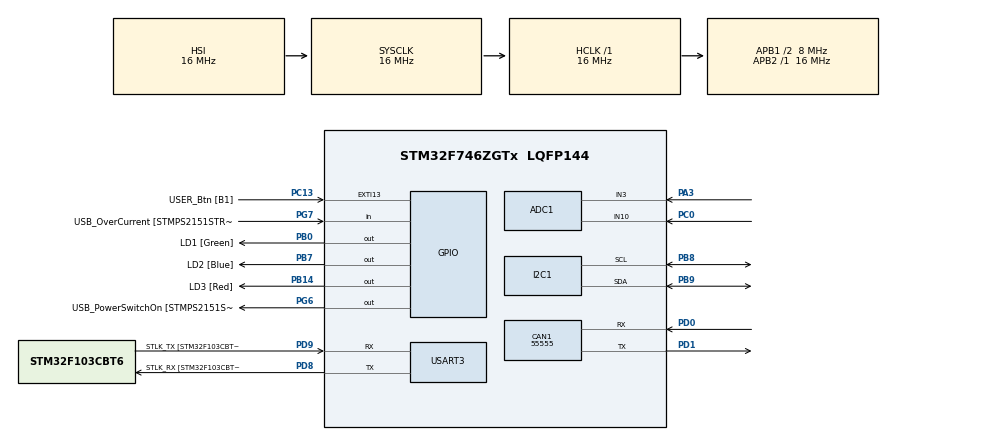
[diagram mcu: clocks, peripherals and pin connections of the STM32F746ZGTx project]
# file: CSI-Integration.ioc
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ADC1.Channel-1\#ChannelRegularConversion=ADC_CHANNEL_3
ADC1.NbrOfConversionFlag=1
ADC1.Rank-1\#ChannelRegularConversion=1
ADC1.SamplingTime-1\#ChannelRegularConversion=ADC_SAMPLETIME_3CYCLES
ADC1.master=1
CAN1.BS1=CAN_BS1_4TQ
CAN1.BS2=CAN_BS2_4TQ
CAN1.CalculateBaudRate=55555
CAN1.CalculateTimeBit=18000
CAN1.CalculateTimeQuantum=2000.0
CAN1.Mode=CAN_MODE_LOOPBACK
I2C1.Timing=0x2000090E
Mcu.Family=STM32F7
Mcu.Name=STM32F746ZGTx
Mcu.Package=LQFP144
NVIC.CAN1_RX0_IRQn=true\:0\:0\:false\:false\:true\:true\:true
NVIC.PriorityGroup=NVIC_PRIORITYGROUP_4
PA10.GPIO_Label=USB_ID
PA10.Signal=USB_OTG_FS_ID
PA11.GPIO_Label=USB_DM
PA11.Signal=USB_OTG_FS_DM
PA12.GPIO_Label=USB_DP
PA12.Signal=USB_OTG_FS_DP
PA13.GPIO_Label=TMS
PA13.Signal=SYS_JTMS-SWDIO
PA14.GPIO_Label=TCK
PA14.Signal=SYS_JTCK-SWCLK
PA3.Signal=ADCx_IN3
PA8.GPIO_Label=USB_SOF [TP1]
PA8.Signal=USB_OTG_FS_SOF
PA9.GPIO_Label=USB_VBUS
PA9.Signal=USB_OTG_FS_VBUS
PB0.GPIO_Label=LD1 [Green]
PB0.Signal=GPIO_Output
PB13.GPIO_Label=RMII_TXD1 [LAN8742A-CZ-TR_TXD1]
PB13.Signal=ETH_TXD1
PB14.GPIO_Label=LD3 [Red]
PB14.Signal=GPIO_Output
PB3.GPIO_Label=SW0
PB3.Signal=SYS_JTDO-SWO
PB7.GPIO_Label=LD2 [Blue]
PB7.Signal=GPIO_Output
PB8.Mode=I2C
PB8.Signal=I2C1_SCL
PB9.Mode=I2C
PB9.Signal=I2C1_SDA
PC0.Signal=ADCx_IN10
PC1.GPIO_Label=RMII_MDC [LAN8742A-CZ-TR_MDC]
PC1.Signal=ETH_MDC
PC13.GPIO_Label=USER_Btn [B1]
PC13.Signal=GPXTI13
PC14/OSC32_IN.Signal=RCC_OSC32_IN
PC15/OSC32_OUT.Signal=RCC_OSC32_OUT
PD0.Mode=CAN_Activate
PD0.Signal=CAN1_RX
PD1.Mode=CAN_Activate
PD1.Signal=CAN1_TX
PD8.GPIO_Label=STLK_RX [STM32F103CBT6_PA3]
PD8.Mode=Asynchronous
PD8.Signal=USART3_TX
PD9.GPIO_Label=STLK_TX [STM32F103CBT6_PA2]
PD9.Mode=Asynchronous
PD9.Signal=USART3_RX
PG11.GPIO_Label=RMII_TX_EN [LAN8742A-CZ-TR_TXEN]
PG11.Signal=ETH_TX_EN
PG13.GPIO_Label=RMII_TXD0 [LAN8742A-CZ-TR_TXD0]
PG13.Signal=ETH_TXD0
PG6.GPIO_Label=USB_PowerSwitchOn [STMPS2151STR_EN]
PG6.Signal=GPIO_Output
PG7.GPIO_Label=USB_OverCurrent [STMPS2151STR_FAULT]
PG7.Signal=GPIO_Input
PH0/OSC_IN.GPIO_Label=MCO [STM32F103CBT6_PA8]
PH0/OSC_IN.Mode=HSE-External-Oscillator
PH0/OSC_IN.Signal=RCC_OSC_IN
PH1/OSC_OUT.Mode=HSE-External-Oscillator
PH1/OSC_OUT.Signal=RCC_OSC_OUT
ProjectManager.HeapSize=0x200
ProjectManager.StackSize=0x400
ProjectManager.TargetToolchain=STM32CubeIDE
RCC.48MHZClocksFreq_Value=24000000
RCC.AHBFreq_Value=16000000
RCC.APB1CLKDivider=RCC_HCLK_DIV2
RCC.APB1Freq_Value=8000000
RCC.APB1TimFreq_Value=16000000
RCC.APB2Freq_Value=16000000
RCC.APB2TimFreq_Value=16000000
RCC.CortexFreq_Value=16000000
RCC.HCLKFreq_Value=16000000
RCC.HSE_VALUE=8000000
RCC.HSI_VALUE=16000000
RCC.LSE_VALUE=32768
RCC.PLLMUL=RCC_PLL_MUL9
RCC.PRESCALERUSB=RCC_USBCLKSOURCE_PLL_DIV1_5
RCC.SYSCLKFreq_VALUE=16000000
RCC.SYSCLKSourceVirtual=RCC_SYSCLKSOURCE_PLLCLK
RCC.USBFreq_Value=96000000
RCC.VCOOutputFreq_Value=192000000
SH.ADCx_IN10.0=ADC1_IN10,IN10
SH.ADCx_IN3.0=ADC1_IN3,IN3
USART3.VirtualMode-Asynchronous=VM_ASYNC
board=NUCLEO-F746ZG

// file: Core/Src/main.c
/* USER CODE BEGIN Header */
/**
  ******************************************************************************
  * @file           : main.c
  * @brief          : Main program body
  ******************************************************************************
  * @attention
  *
  * Copyright (c) 2022 STMicroelectronics.
  * All rights reserved.
  *
  * This software is licensed under terms that can be found in the LICENSE file
  * in the root directory of this software component.
  * If no LICENSE file comes with this software, it is provided AS-IS.
  *
  ******************************************************************************
  */
/* USER CODE END Header */
#include "main.h"

/* USER CODE BEGIN Includes */
#include <string.h>
#include <stdio.h>
#include "global.h"
#include "CAN_Driver.h"
#include "EEPROM_Driver_EXT.h"
#include "sensor.h"
#include "ADC_Driver.h"
//#include "CAN_Driver.h"
/* USER CODE END Includes */

ADC_HandleTypeDef hadc1;

CAN_HandleTypeDef hcan1;

I2C_HandleTypeDef hi2c1;

UART_HandleTypeDef huart3;

void SystemClock_Config(void);
static void MX_GPIO_Init(void);
static void MX_CAN1_Init(void);
static void MX_USART3_UART_Init(void);
static void MX_ADC1_Init(void);
static void MX_I2C1_Init(void);

/* USER CODE BEGIN 0 */

/* Define CSI_ID 0x0-0xF*/
#define CSI_ID 1 //hardware ID

// CSI CAN IDs TX
#define ID_STATUS       ((0x600) | (0x0F0&(CSI_config_ID<<4)))
#define ID_ANA_VAL12    ((0x601) | (0x0F0&(CSI_config_ID<<4)))     //send Analog Value 1 and 2
#define ID_ANA_VAL34    ((0x602) | (0x0F0&(CSI_config_ID<<4)))   //send Analog Value 3 and 4
#define ID_DIG_VAL1     ((0x603) | (0x0F0&(CSI_config_ID<<4)))    //send Digital Value
#define ID_ERROR        ((0x606) | (0x0F0&(CSI_config_ID<<4)))    //error message
#define ID_CSI_LOAD     ((0x607) | (0x0F0&(CSI_config_ID<<4)))      //send  the acutal CSI Load

#define ID_REQ_VOLTS    (0x608 | (CSI_ID<<4))   // actual Voltage of a channel to the dash manager
#define ID_CONFIG_CSI   (0x609 | (CSI_ID<<4))      //send the config from the CSI to the dash manager

// CSI CAN IDs RX
#define ID_GET_config   0x700    //Dash Manager sends a new config to the CSI
#define ID_SWITCH_5V_SW  ((0x604) | (CSI_config_ID<<4))

//extern struct_Sensor sensor;
//extern S08 device;

CAN_TxHeaderTypeDef TxHeader;
CAN_RxHeaderTypeDef RxHeader;

uint32_t TxMailbox = 0x00;

uint8_t TxData[8] = {0};
uint8_t RxData[8] = {0};

uint8_t new_index = -1;

uint8_t count = 0;

struct_Sensor sensor;
S08 device;

//testing for EEPROM
char uart_buf[50] = {0};
char i2c_buffer[20];
uint16_t temp_buffer[10];

void HAL_CAN_RxFifo0MsgPendingCallback(CAN_HandleTypeDef *hcan1)
{
	HAL_CAN_GetRxMessage(hcan1, CAN_RX_FIFO0, &RxHeader, RxData);

uint16_t x_value_byte1 = 0, x_value_byte2 = 0;
uint16_t y_value_byte1 = 0, y_value_byte2 = 0;
uint32_t address_X, address_Y;
uint8_t X_new_index, Y_new_index;
uint16_t new_x_value = 0;
sint32 new_y_value = 0;
//struct_Sensor sensor;

	if(RxHeader.StdId == 0x99 ){

		x_value_byte1 = RxData[2] << 8; //upper byte
		x_value_byte2 = RxData[3]; //lower byte

		y_value_byte1 = RxData[4] << 8; //upper byte
		y_value_byte2 = RxData[5]; // lower byte

		//obtaining x index
		X_new_index = RxData[0];
		address_X = X_new_index * 2;

		//obtaining y index
		Y_new_index = RxData[1];
		address_Y = (Y_new_index * 2) + sensor.end_address;

		new_x_value = x_value_byte1 | x_value_byte2;
		new_y_value = y_value_byte1 | y_value_byte2;

		sensor.x_values[X_new_index] = new_x_value;
		if(Write_Page_EEPROM(&device, address_X, sensor.x_values[X_new_index]) != HAL_OK )
			Error_Handler();

		sensor.y_values[Y_new_index] = new_y_value;

		if(Write_Page_EEPROM(&device, address_Y, sensor.y_values[Y_new_index]) != HAL_OK )
			Error_Handler();

		read_ALL_EEPROM(&sensor, &device);
		//serial_print_sensor_values(sensor);
	}
	//no changes

	//count++;
}//test code for loopback mode

/* USER CODE END 0 */

int main(void)
{

  /* MCU Configuration--------------------------------------------------------*/

  /* Reset of all peripherals, Initializes the Flash interface and the Systick. */
  HAL_Init();

  /* Configure the system clock */
  SystemClock_Config();

  /* Initialize all configured peripherals */
  MX_GPIO_Init();
  MX_CAN1_Init();
  MX_USART3_UART_Init();
  MX_ADC1_Init();
  MX_I2C1_Init();
  /* USER CODE BEGIN 2 */

  HAL_CAN_Start(&hcan1); // start communicating with CANBUS and cant reconfigure CAN settings

  /*ENABLE INTERRUPTS*/
  HAL_CAN_ActivateNotification(&hcan1, CAN_IT_RX_FIFO0_MSG_PENDING);

HAL_StatusTypeDef error_check = HAL_OK;

initialize_EEPROM(&device, &hi2c1);

//initialize Sensor
//struct_Sensor sensor = {0};
init_sensor(&sensor); //assigning the default values for sensors to the EEPROM

write_ALL_EEPROM(&sensor, &device);
read_ALL_EEPROM(&sensor, &device);
serial_print_sensor_values(sensor);

//interpolation function needs to be written

//ADC variables
	char adc_msg[100];
	int raw;
	int convert;
	sint32 physical = 0;

	//CAN variables
	uint8_t upper_byte = 0, lower_byte = 0;

	uint16_t value_x = 100;
	uint16_t value_y = 27;

	uint8_t upper_byte_x = (value_x & 0xFF00) >> 8;	//need to keep it size of 1 byte
	uint8_t lower_byte_x = value_x & 0x00FF;

	uint8_t upper_byte_y = (value_y & 0xFF00) >> 8;	//need to keep it size of 1 byte
	uint8_t lower_byte_y = value_y & 0x00FF;

	int negative_flag = 0;	//it is not negative
	struct_CAN_Message Message = {0};
	Message.CAN_ID = 0x99;
	Message.CAN_Byte1 = 1; //x index
	Message.CAN_Byte2 = 1; //y index
	Message.CAN_Byte3 = upper_byte_x;
	Message.CAN_Byte4 = lower_byte_x;
	Message.CAN_Byte5 = upper_byte_y;
	Message.CAN_Byte6 = lower_byte_y;

	send_CAN(Message);

	struct_CAN_Message Message2 = {0};

	//HAL_Delay(1);

  /* USER CODE END 2 */

  /* Infinite loop */
  /* USER CODE BEGIN WHILE */
  while (1)
  {

	  HAL_ADC_Start(&hadc1);							//Enables ADC to start conversion
	  HAL_ADC_PollForConversion(&hadc1, HAL_MAX_DELAY);	//polls for regular conversion
	  raw = HAL_ADC_GetValue(&hadc1);					// Gets the value from data register of regular channel and returns the raw adc value
	  convert = converted_ADC_values(raw);				//converts the value to mV
	  sensor.voltage = convert;							//store in sensor struct
	  physical = VoltageToPhysValue();			// converts to physical value

	  if(physical < 0){
			physical *= -1;
			negative_flag = 1;
	  }

	  upper_byte = (physical & 0xFF00) >> 8;
	  lower_byte = physical & 0xFF;
	  Message2.CAN_ID = 0x10;
	  Message2.CAN_Byte1 = upper_byte; //sending upper byte
	  Message2.CAN_Byte2 = lower_byte; //sending lower byte
	  Message2.CAN_Byte3 = negative_flag; //sending negative flag

	  send_CAN(Message2);
	  negative_flag = 0;

	  sprintf(adc_msg, "ADC VAL: %hu | mV Val: %hu | phys value: %ld\r\n",raw, convert, physical);

	 HAL_UART_Transmit(&huart3, (uint8_t *)adc_msg, strlen(adc_msg), HAL_MAX_DELAY);

	  HAL_Delay(500);
    /* USER CODE END WHILE */

    /* USER CODE BEGIN 3 */
  }

  //from can_driver.c

 	 //test.CAN_Word1 = 0x10;
 	 //Message.CAN_Word3 = 0X10;
 	 //Message.CAN_Word5 = 'c';

  /* USER CODE END 3 */
}

void SystemClock_Config(void)
{
  RCC_OscInitTypeDef RCC_OscInitStruct = {0};
  RCC_ClkInitTypeDef RCC_ClkInitStruct = {0};

  /** Configure the main internal regulator output voltage
  */
  __HAL_RCC_PWR_CLK_ENABLE();
  __HAL_PWR_VOLTAGESCALING_CONFIG(PWR_REGULATOR_VOLTAGE_SCALE3);
  /** Initializes the RCC Oscillators according to the specified parameters
  * in the RCC_OscInitTypeDef structure.
  */
  RCC_OscInitStruct.OscillatorType = RCC_OSCILLATORTYPE_HSI;
  RCC_OscInitStruct.HSIState = RCC_HSI_ON;
  RCC_OscInitStruct.HSICalibrationValue = RCC_HSICALIBRATION_DEFAULT;
  RCC_OscInitStruct.PLL.PLLState = RCC_PLL_NONE;
  if (HAL_RCC_OscConfig(&RCC_OscInitStruct) != HAL_OK)
  {
    Error_Handler();
  }
  /** Initializes the CPU, AHB and APB buses clocks
  */
  RCC_ClkInitStruct.ClockType = RCC_CLOCKTYPE_HCLK|RCC_CLOCKTYPE_SYSCLK
                              |RCC_CLOCKTYPE_PCLK1|RCC_CLOCKTYPE_PCLK2;
  RCC_ClkInitStruct.SYSCLKSource = RCC_SYSCLKSOURCE_HSI;
  RCC_ClkInitStruct.AHBCLKDivider = RCC_SYSCLK_DIV1;
  RCC_ClkInitStruct.APB1CLKDivider = RCC_HCLK_DIV2;
  RCC_ClkInitStruct.APB2CLKDivider = RCC_HCLK_DIV1;

  if (HAL_RCC_ClockConfig(&RCC_ClkInitStruct, FLASH_LATENCY_0) != HAL_OK)
  {
    Error_Handler();
  }
}

static void MX_ADC1_Init(void)
{

  ADC_ChannelConfTypeDef sConfig = {0};

  /** Configure the global features of the ADC (Clock, Resolution, Data Alignment and number of conversion)
  */
  hadc1.Instance = ADC1;
  hadc1.Init.ClockPrescaler = ADC_CLOCK_SYNC_PCLK_DIV2;
  hadc1.Init.Resolution = ADC_RESOLUTION_12B;
  hadc1.Init.ScanConvMode = ADC_SCAN_DISABLE;
  hadc1.Init.ContinuousConvMode = DISABLE;
  hadc1.Init.DiscontinuousConvMode = DISABLE;
  hadc1.Init.ExternalTrigConvEdge = ADC_EXTERNALTRIGCONVEDGE_NONE;
  hadc1.Init.ExternalTrigConv = ADC_SOFTWARE_START;
  hadc1.Init.DataAlign = ADC_DATAALIGN_RIGHT;
  hadc1.Init.NbrOfConversion = 1;
  hadc1.Init.DMAContinuousRequests = DISABLE;
  hadc1.Init.EOCSelection = ADC_EOC_SINGLE_CONV;
  if (HAL_ADC_Init(&hadc1) != HAL_OK)
  {
    Error_Handler();
  }
  /** Configure for the selected ADC regular channel its corresponding rank in the sequencer and its sample time.
  */
  sConfig.Channel = ADC_CHANNEL_3;
  sConfig.Rank = ADC_REGULAR_RANK_1;
  sConfig.SamplingTime = ADC_SAMPLETIME_3CYCLES;
  if (HAL_ADC_ConfigChannel(&hadc1, &sConfig) != HAL_OK)
  {
    Error_Handler();
  }

}

static void MX_CAN1_Init(void)
{

  hcan1.Instance = CAN1;
  hcan1.Init.Prescaler = 16;
  hcan1.Init.Mode = CAN_MODE_LOOPBACK;
  hcan1.Init.SyncJumpWidth = CAN_SJW_1TQ;
  hcan1.Init.TimeSeg1 = CAN_BS1_4TQ;
  hcan1.Init.TimeSeg2 = CAN_BS2_4TQ;
  hcan1.Init.TimeTriggeredMode = DISABLE;
  hcan1.Init.AutoBusOff = DISABLE;
  hcan1.Init.AutoWakeUp = DISABLE;
  hcan1.Init.AutoRetransmission = DISABLE;
  hcan1.Init.ReceiveFifoLocked = DISABLE;
  hcan1.Init.TransmitFifoPriority = DISABLE;
  if (HAL_CAN_Init(&hcan1) != HAL_OK)
  {
    Error_Handler();
  }
  /* USER CODE BEGIN CAN1_Init 2 */

  CAN_FilterTypeDef canfilterconfig;

  //configuring CAN Filter
    canfilterconfig.FilterActivation = ENABLE;
    canfilterconfig.FilterBank = 0;  // anything between 0 to SlaveStartFilterBank
    									/*!< Specifies the filter bank which will be initialized.
                                           For single CAN instance(14 dedicated filter banks),
                                           this parameter must be a number between Min_Data = 0 and Max_Data = 13.
                                           For dual CAN instances(28 filter banks shared),
                                           this parameter must be a number between Min_Data = 0 and Max_Data = 27. */
    canfilterconfig.FilterFIFOAssignment = CAN_FILTER_FIFO0;
    canfilterconfig.FilterIdHigh = 0x255; // highest ID allowed through the filter
    canfilterconfig.FilterIdLow = 0x0000; // lowest ID allowed through the filter
    canfilterconfig.FilterMaskIdHigh = 0x00; // mask bits that apply to address
    canfilterconfig.FilterMaskIdLow = 0x00;
    canfilterconfig.FilterMode = CAN_FILTERMODE_IDMASK;
    canfilterconfig.FilterScale = CAN_FILTERSCALE_32BIT;
    canfilterconfig.SlaveStartFilterBank = 10;  /*  Select the start filter bank for the slave CAN instance.  For single CAN instances, this parameter is meaningless.
    												For dual CAN instances, all filter banks with lower index are assigned to master
    												CAN instance, whereas all filter banks with greater index are assigned to slave CAN instance.
    												This parameter must be a number between Min_Data = 0 and Max_Data = 27.
     	 	 	 	 	 	 	 	 	 	 	 */

HAL_CAN_ConfigFilter(&hcan1, &canfilterconfig);

  /* USER CODE END CAN1_Init 2 */

}

static void MX_I2C1_Init(void)
{

  hi2c1.Instance = I2C1;
  hi2c1.Init.Timing = 0x2000090E;
  hi2c1.Init.OwnAddress1 = 0;
  hi2c1.Init.AddressingMode = I2C_ADDRESSINGMODE_7BIT;
  hi2c1.Init.DualAddressMode = I2C_DUALADDRESS_DISABLE;
  hi2c1.Init.OwnAddress2 = 0;
  hi2c1.Init.OwnAddress2Masks = I2C_OA2_NOMASK;
  hi2c1.Init.GeneralCallMode = I2C_GENERALCALL_DISABLE;
  hi2c1.Init.NoStretchMode = I2C_NOSTRETCH_DISABLE;
  if (HAL_I2C_Init(&hi2c1) != HAL_OK)
  {
    Error_Handler();
  }
  /** Configure Analogue filter
  */
  if (HAL_I2CEx_ConfigAnalogFilter(&hi2c1, I2C_ANALOGFILTER_ENABLE) != HAL_OK)
  {
    Error_Handler();
  }
  /** Configure Digital filter
  */
  if (HAL_I2CEx_ConfigDigitalFilter(&hi2c1, 0) != HAL_OK)
  {
    Error_Handler();
  }

}

static void MX_USART3_UART_Init(void)
{

  huart3.Instance = USART3;
  huart3.Init.BaudRate = 115200;
  huart3.Init.WordLength = UART_WORDLENGTH_8B;
  huart3.Init.StopBits = UART_STOPBITS_1;
  huart3.Init.Parity = UART_PARITY_NONE;
  huart3.Init.Mode = UART_MODE_TX_RX;
  huart3.Init.HwFlowCtl = UART_HWCONTROL_NONE;
  huart3.Init.OverSampling = UART_OVERSAMPLING_16;
  huart3.Init.OneBitSampling = UART_ONE_BIT_SAMPLE_DISABLE;
  huart3.AdvancedInit.AdvFeatureInit = UART_ADVFEATURE_NO_INIT;
  if (HAL_UART_Init(&huart3) != HAL_OK)
  {
    Error_Handler();
  }

}

static void MX_GPIO_Init(void)
{
  GPIO_InitTypeDef GPIO_InitStruct = {0};

  /* GPIO Ports Clock Enable */
  __HAL_RCC_GPIOC_CLK_ENABLE();
  __HAL_RCC_GPIOH_CLK_ENABLE();
  __HAL_RCC_GPIOA_CLK_ENABLE();
  __HAL_RCC_GPIOB_CLK_ENABLE();
  __HAL_RCC_GPIOD_CLK_ENABLE();
  __HAL_RCC_GPIOG_CLK_ENABLE();

  /*Configure GPIO pin Output Level */
  HAL_GPIO_WritePin(GPIOB, LD1_Pin|LD3_Pin|LD2_Pin, GPIO_PIN_RESET);

  /*Configure GPIO pin Output Level */
  HAL_GPIO_WritePin(USB_PowerSwitchOn_GPIO_Port, USB_PowerSwitchOn_Pin, GPIO_PIN_RESET);

  /*Configure GPIO pin : USER_Btn_Pin */
  GPIO_InitStruct.Pin = USER_Btn_Pin;
  GPIO_InitStruct.Mode = GPIO_MODE_IT_RISING;
  GPIO_InitStruct.Pull = GPIO_NOPULL;
  HAL_GPIO_Init(USER_Btn_GPIO_Port, &GPIO_InitStruct);

  /*Configure GPIO pin : RMII_MDC_Pin */
  GPIO_InitStruct.Pin = RMII_MDC_Pin;
  GPIO_InitStruct.Mode = GPIO_MODE_AF_PP;
  GPIO_InitStruct.Pull = GPIO_NOPULL;
  GPIO_InitStruct.Speed = GPIO_SPEED_FREQ_VERY_HIGH;
  GPIO_InitStruct.Alternate = GPIO_AF11_ETH;
  HAL_GPIO_Init(RMII_MDC_GPIO_Port, &GPIO_InitStruct);

  /*Configure GPIO pins : LD1_Pin LD3_Pin LD2_Pin */
  GPIO_InitStruct.Pin = LD1_Pin|LD3_Pin|LD2_Pin;
  GPIO_InitStruct.Mode = GPIO_MODE_OUTPUT_PP;
  GPIO_InitStruct.Pull = GPIO_NOPULL;
  GPIO_InitStruct.Speed = GPIO_SPEED_FREQ_LOW;
  HAL_GPIO_Init(GPIOB, &GPIO_InitStruct);

  /*Configure GPIO pin : RMII_TXD1_Pin */
  GPIO_InitStruct.Pin = RMII_TXD1_Pin;
  GPIO_InitStruct.Mode = GPIO_MODE_AF_PP;
  GPIO_InitStruct.Pull = GPIO_NOPULL;
  GPIO_InitStruct.Speed = GPIO_SPEED_FREQ_VERY_HIGH;
  GPIO_InitStruct.Alternate = GPIO_AF11_ETH;
  HAL_GPIO_Init(RMII_TXD1_GPIO_Port, &GPIO_InitStruct);

  /*Configure GPIO pin : USB_PowerSwitchOn_Pin */
  GPIO_InitStruct.Pin = USB_PowerSwitchOn_Pin;
  GPIO_InitStruct.Mode = GPIO_MODE_OUTPUT_PP;
  GPIO_InitStruct.Pull = GPIO_NOPULL;
  GPIO_InitStruct.Speed = GPIO_SPEED_FREQ_LOW;
  HAL_GPIO_Init(USB_PowerSwitchOn_GPIO_Port, &GPIO_InitStruct);

  /*Configure GPIO pin : USB_OverCurrent_Pin */
  GPIO_InitStruct.Pin = USB_OverCurrent_Pin;
  GPIO_InitStruct.Mode = GPIO_MODE_INPUT;
  GPIO_InitStruct.Pull = GPIO_NOPULL;
  HAL_GPIO_Init(USB_OverCurrent_GPIO_Port, &GPIO_InitStruct);

  /*Configure GPIO pins : USB_SOF_Pin USB_ID_Pin USB_DM_Pin USB_DP_Pin */
  GPIO_InitStruct.Pin = USB_SOF_Pin|USB_ID_Pin|USB_DM_Pin|USB_DP_Pin;
  GPIO_InitStruct.Mode = GPIO_MODE_AF_PP;
  GPIO_InitStruct.Pull = GPIO_NOPULL;
  GPIO_InitStruct.Speed = GPIO_SPEED_FREQ_VERY_HIGH;
  GPIO_InitStruct.Alternate = GPIO_AF10_OTG_FS;
  HAL_GPIO_Init(GPIOA, &GPIO_InitStruct);

  /*Configure GPIO pin : USB_VBUS_Pin */
  GPIO_InitStruct.Pin = USB_VBUS_Pin;
  GPIO_InitStruct.Mode = GPIO_MODE_INPUT;
  GPIO_InitStruct.Pull = GPIO_NOPULL;
  HAL_GPIO_Init(USB_VBUS_GPIO_Port, &GPIO_InitStruct);

  /*Configure GPIO pins : RMII_TX_EN_Pin RMII_TXD0_Pin */
  GPIO_InitStruct.Pin = RMII_TX_EN_Pin|RMII_TXD0_Pin;
  GPIO_InitStruct.Mode = GPIO_MODE_AF_PP;
  GPIO_InitStruct.Pull = GPIO_NOPULL;
  GPIO_InitStruct.Speed = GPIO_SPEED_FREQ_VERY_HIGH;
  GPIO_InitStruct.Alternate = GPIO_AF11_ETH;
  HAL_GPIO_Init(GPIOG, &GPIO_InitStruct);

}

void Error_Handler(void)
{
  __disable_irq();
  while (1)
  {
  }
}
